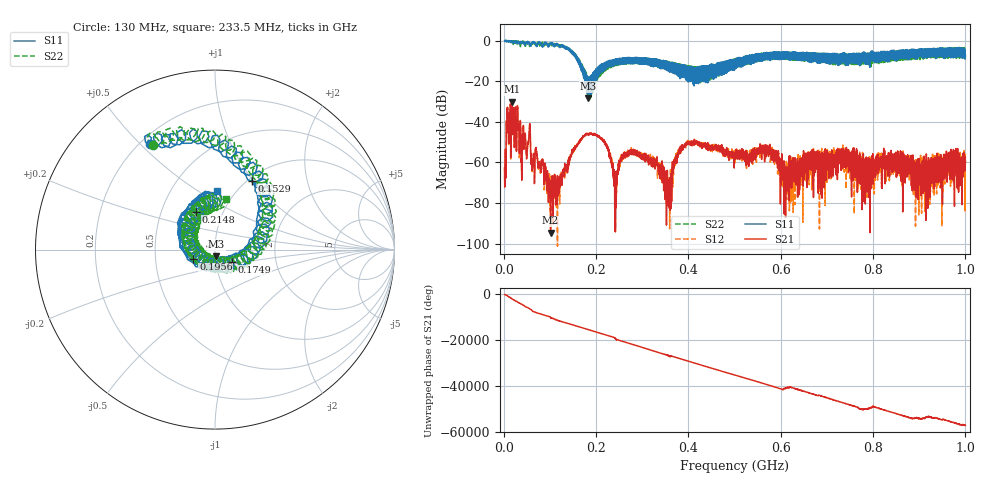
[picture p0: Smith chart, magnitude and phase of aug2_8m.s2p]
!Keysight Technologies N9923A: A.12.45
!Date: Saturday, 02 August 2025 18:44:43
!Timezone: (UTC+08:00) Kuala Lumpur, Singapore
!Model: N9923A
!Serial: MY61181427
!GPS Latitude:
!GPS Longitude:
!GPS TimeStamp: 0001-01-01 00:00:00Z
!GPS Seconds Since Last Read: 0
!CHECKSUM:1742711769
!Correction: S11(ON U)S21(ON U)S12(ON U)S22(ON U)
!S2P File: Measurements:S11,S21,S12,S22:
# Hz S DB R 50
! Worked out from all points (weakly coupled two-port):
!   4001 points, 2 MHz to 1 GHz, reference 50 ohm
!   highest |S21| = -30.13 dB at 17.97 MHz (marker M1); lowest = -94.7 dB at 101.6 MHz (marker M2)
!   lowest |S11| = -28.4 dB at 182.9 MHz (marker M3), VSWR 1.08, Z = 50.6 - j3.78 ohm
!   |S11| at or under -10 dB: 164.1 MHz to 228.5 MHz (64.34 MHz wide, 32.8 % of centre); 228.8 MHz to 230.1 MHz (1.326 MHz wide, 0.578 % of centre); 351.1 MHz to 484.7 MHz (133.7 MHz wide, 32 % of centre) (the widest 3 of 214)
!   |S22| runs from -28.9 to 0.1 dB; largest |S21 - S12| = 0.0024
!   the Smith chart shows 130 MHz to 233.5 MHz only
!   S11 on the Smith chart (normalised r, x): 130 MHz: 0.24, +0.53; 152.9 MHz: 1.04, +0.98; 174.9 MHz: 1.20, -0.17; 195.6 MHz: 0.78, -0.09; 214.8 MHz: 0.75, +0.33; 233.5 MHz: 0.82, +0.60
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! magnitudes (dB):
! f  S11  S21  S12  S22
! 2 MHz  -0.1  -62.6  -62.5  -0.1
! 17.97 MHz  -0.7  -30.1  -30.2  -0.9
! 101.6 MHz  -1.7  -94.7  -73.8  -2.1
! 130 MHz  -3.2  -63.0  -64.9  -3.4
! 152.9 MHz  -7.3  -52.9  -53.0  -6.8
! 168.4 MHz  -14.0  -48.4  -47.9  -14.1
! 174.9 MHz  -18.6  -47.1  -47.0  -18.9
! 182.9 MHz  -28.4  -45.8  -45.9  -22.7
! 195.6 MHz  -17.6  -46.0  -45.6  -16.7
! 214.8 MHz  -12.6  -49.0  -48.8  -14.9
! 233.5 MHz  -9.7  -59.4  -60.2  -10.8
! 242.5 MHz  -10.7  -74.6  -80.2  -9.9
! 271.2 MHz  -10.6  -54.5  -55.8  -9.7
! 334.8 MHz  -11.7  -60.9  -63.1  -9.9
! 359 MHz  -12.3  -72.8  -74.0  -14.7
! 397.5 MHz  -15.6  -50.3  -50.5  -18.9
! 501 MHz  -12.1  -56.7  -60.2  -12.5
! 573.6 MHz  -5.9  -53.8  -54.4  -8.7
! 614 MHz  -5.5  -66.7  -70.2  -8.0
! 667.4 MHz  -7.0  -58.4  -62.6  -9.7
! 833.8 MHz  -6.8  -65.0  -55.3  -7.6
! 1 GHz  -7.1  -59.3  -60.4  -3.4
